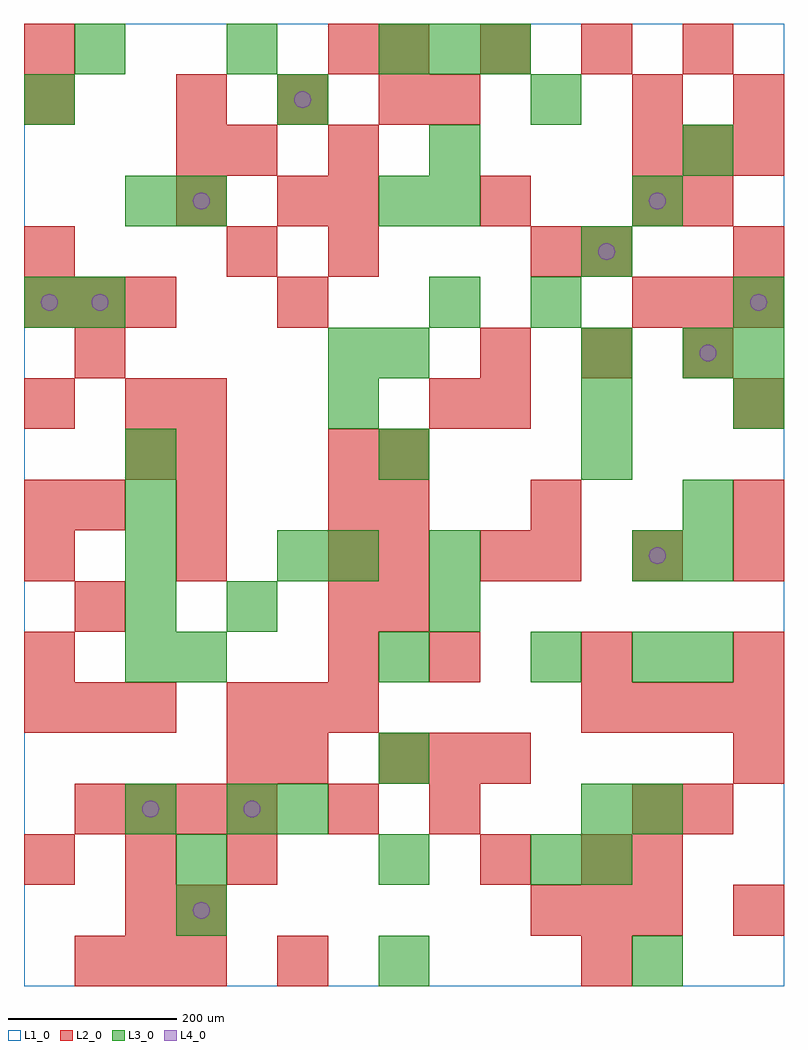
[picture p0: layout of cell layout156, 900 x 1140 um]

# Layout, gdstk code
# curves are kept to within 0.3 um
import gdstk
lib = gdstk.Library(unit=1e-6, precision=1e-09)
def R(c, l, rs):  # rectangles x0, y0, x1, y1
    for r in rs: c.add(gdstk.rectangle(r[:2], r[2:], *l))
def A(c, l, x, y, w, h, nx, ny, dx, dy):  # array of equal rectangles
    R(c, l, [(x+i*dx, y+j*dy, x+i*dx+w, y+j*dy+h) for i in range(nx) for j in range(ny)])
def P(c, l, *ps):  # polygons
    for p in ps: c.add(gdstk.Polygon(p, *l))
L1_0 = (1, 0)
L2_0 = (2, 0)
L3_0 = (3, 0)
L4_0 = (4, 0)

layout156 = lib.new_cell('layout156')
R(layout156, L1_0, [(0,0,900,1140)])
A(layout156, L2_0, 60, 0, 60, 60, 3, 1, 60, 0)
A(layout156, L2_0, 600, 60, 60, 60, 3, 1, 60, 0)
A(layout156, L2_0, 0, 120, 60, 60, 3, 1, 120, 0)
A(layout156, L2_0, 60, 180, 60, 60, 4, 1, 60, 0)
A(layout156, L2_0, 420, 240, 60, 60, 3, 1, 60, 0)
A(layout156, L2_0, 0, 300, 60, 60, 3, 2, 60, 480)
A(layout156, L2_0, 240, 300, 60, 60, 3, 1, 60, 0)
A(layout156, L2_0, 660, 300, 60, 60, 4, 1, 60, 0)
A(layout156, L2_0, 480, 360, 60, 60, 3, 1, 180, 0)
A(layout156, L2_0, 420, 420, 60, 60, 1, 4, 0, 60)
A(layout156, L2_0, 0, 480, 60, 60, 3, 1, 180, 0)
A(layout156, L2_0, 600, 480, 60, 60, 3, 1, 120, 0)
A(layout156, L2_0, 180, 540, 60, 60, 1, 3, 0, 60)
A(layout156, L2_0, 0, 660, 60, 60, 1, 3, 0, 180)
A(layout156, L2_0, 840, 660, 60, 60, 1, 3, 0, 180)
A(layout156, L2_0, 540, 720, 60, 60, 3, 1, 120, 0)
A(layout156, L2_0, 720, 780, 60, 60, 3, 2, 60, 180)
A(layout156, L2_0, 360, 840, 60, 60, 1, 3, 0, 120)
A(layout156, L2_0, 360, 900, 60, 60, 3, 1, 180, 0)
A(layout156, L2_0, 180, 1020, 60, 60, 3, 1, 120, 0)
A(layout156, L2_0, 420, 1080, 60, 60, 4, 1, 120, 0)
R(layout156, L2_0, [(300,0,360,60), (660,0,720,60), (120,60,180,120), (180,60,240,120), (840,60,900,120), (540,120,600,180), (660,120,720,180), (720,120,780,180), (360,180,420,240), (480,180,540,240), (720,180,780,240), (780,180,840,240), (240,240,300,300), (300,240,360,300), (840,240,900,300), (0,360,60,420), (360,360,420,420), (60,420,120,480), (360,420,420,480), (540,480,600,540), (0,540,60,600), (60,540,120,600), (360,540,420,600), (600,540,660,600), (840,540,900,600), (120,600,180,660), (360,600,420,660), (120,660,180,720), (480,660,540,720), (540,660,600,720), (60,720,120,780), (300,780,360,840), (240,840,300,900), (600,840,660,900), (660,840,720,900), (180,900,240,960), (300,900,360,960), (780,900,840,960), (180,960,240,1020), (240,960,300,1020), (480,1020,540,1080), (720,1020,780,1080), (0,1080,60,1140)])
A(layout156, L3_0, 420, 0, 60, 60, 1, 4, 0, 120)
A(layout156, L3_0, 720, 0, 60, 60, 1, 3, 0, 180)
A(layout156, L3_0, 120, 360, 60, 60, 1, 5, 0, 60)
A(layout156, L3_0, 660, 600, 60, 60, 1, 3, 0, 60)
A(layout156, L3_0, 840, 660, 60, 60, 1, 3, 0, 60)
A(layout156, L3_0, 0, 1020, 60, 60, 3, 1, 300, 0)
A(layout156, L3_0, 60, 1080, 60, 60, 3, 1, 180, 0)
R(layout156, L3_0, [(180,60,240,120), (180,120,240,180), (600,120,660,180), (660,120,720,180), (120,180,180,240), (240,180,300,240), (300,180,360,240), (660,180,720,240), (180,360,240,420), (600,360,660,420), (780,360,840,420), (240,420,300,480), (480,420,540,480), (300,480,360,540), (360,480,420,540), (480,480,540,540), (720,480,780,540), (780,480,840,540), (780,540,840,600), (420,600,480,660), (360,660,420,720), (360,720,420,780), (420,720,480,780), (780,720,840,780), (0,780,60,840), (60,780,120,840), (480,780,540,840), (600,780,660,840), (660,840,720,900), (120,900,180,960), (180,900,240,960), (420,900,480,960), (480,900,540,960), (720,900,780,960), (480,960,540,1020), (780,960,840,1020), (480,1080,540,1140), (540,1080,600,1140)])
P(layout156, L4_0, [(40,810),(39.239,813.827),(37.071,817.071),(33.827,819.239),(30,820),(26.173,819.239),(22.929,817.071),(20.761,813.827),(20,810),(20.761,806.173),(22.929,802.929),(26.173,800.761),(30,800),(33.827,800.761),(37.071,802.929),(39.239,806.173)],
  [(100,810),(99.239,813.827),(97.071,817.071),(93.827,819.239),(90,820),(86.173,819.239),(82.929,817.071),(80.761,813.827),(80,810),(80.761,806.173),(82.929,802.929),(86.173,800.761),(90,800),(93.827,800.761),(97.071,802.929),(99.239,806.173)],
  [(160,210),(159.239,213.827),(157.071,217.071),(153.827,219.239),(150,220),(146.173,219.239),(142.929,217.071),(140.761,213.827),(140,210),(140.761,206.173),(142.929,202.929),(146.173,200.761),(150,200),(153.827,200.761),(157.071,202.929),(159.239,206.173)],
  [(220,90),(219.239,93.827),(217.071,97.071),(213.827,99.239),(210,100),(206.173,99.239),(202.929,97.071),(200.761,93.827),(200,90),(200.761,86.173),(202.929,82.929),(206.173,80.761),(210,80),(213.827,80.761),(217.071,82.929),(219.239,86.173)],
  [(220,930),(219.239,933.827),(217.071,937.071),(213.827,939.239),(210,940),(206.173,939.239),(202.929,937.071),(200.761,933.827),(200,930),(200.761,926.173),(202.929,922.929),(206.173,920.761),(210,920),(213.827,920.761),(217.071,922.929),(219.239,926.173)],
  [(280,210),(279.239,213.827),(277.071,217.071),(273.827,219.239),(270,220),(266.173,219.239),(262.929,217.071),(260.761,213.827),(260,210),(260.761,206.173),(262.929,202.929),(266.173,200.761),(270,200),(273.827,200.761),(277.071,202.929),(279.239,206.173)],
  [(340,1050),(339.239,1053.827),(337.071,1057.071),(333.827,1059.239),(330,1060),(326.173,1059.239),(322.929,1057.071),(320.761,1053.827),(320,1050),(320.761,1046.173),(322.929,1042.929),(326.173,1040.761),(330,1040),(333.827,1040.761),(337.071,1042.929),(339.239,1046.173)],
  [(700,870),(699.239,873.827),(697.071,877.071),(693.827,879.239),(690,880),(686.173,879.239),(682.929,877.071),(680.761,873.827),(680,870),(680.761,866.173),(682.929,862.929),(686.173,860.761),(690,860),(693.827,860.761),(697.071,862.929),(699.239,866.173)],
  [(760,510),(759.239,513.827),(757.071,517.071),(753.827,519.239),(750,520),(746.173,519.239),(742.929,517.071),(740.761,513.827),(740,510),(740.761,506.173),(742.929,502.929),(746.173,500.761),(750,500),(753.827,500.761),(757.071,502.929),(759.239,506.173)],
  [(760,930),(759.239,933.827),(757.071,937.071),(753.827,939.239),(750,940),(746.173,939.239),(742.929,937.071),(740.761,933.827),(740,930),(740.761,926.173),(742.929,922.929),(746.173,920.761),(750,920),(753.827,920.761),(757.071,922.929),(759.239,926.173)],
  [(820,750),(819.239,753.827),(817.071,757.071),(813.827,759.239),(810,760),(806.173,759.239),(802.929,757.071),(800.761,753.827),(800,750),(800.761,746.173),(802.929,742.929),(806.173,740.761),(810,740),(813.827,740.761),(817.071,742.929),(819.239,746.173)],
  [(880,810),(879.239,813.827),(877.071,817.071),(873.827,819.239),(870,820),(866.173,819.239),(862.929,817.071),(860.761,813.827),(860,810),(860.761,806.173),(862.929,802.929),(866.173,800.761),(870,800),(873.827,800.761),(877.071,802.929),(879.239,806.173)])

lib.write_gds('layout156.gds')
